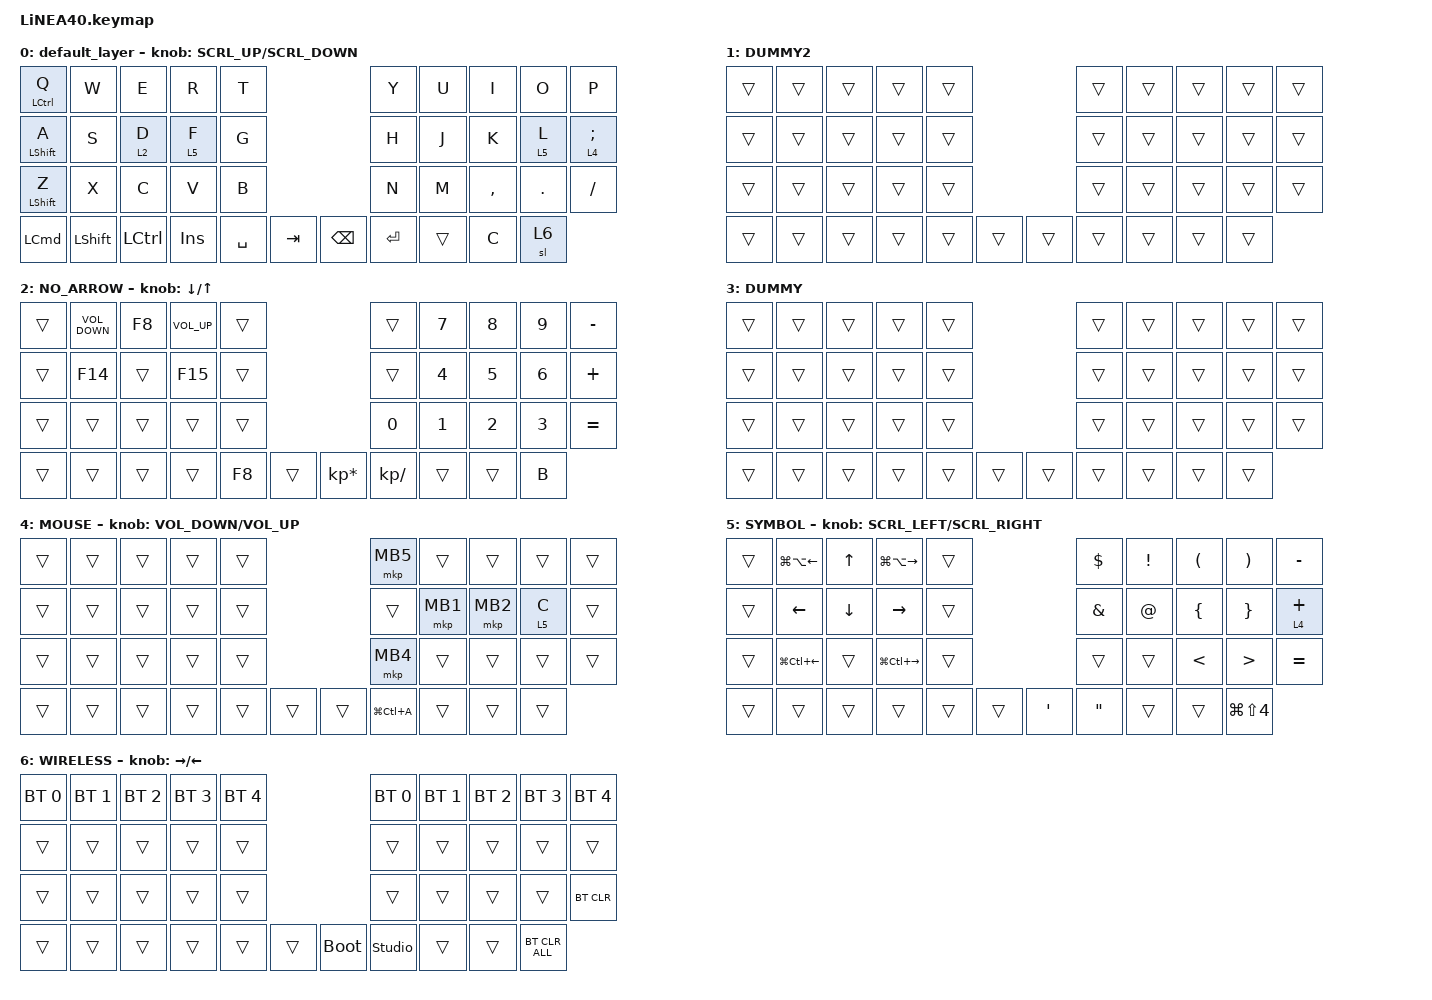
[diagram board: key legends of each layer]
#define ZMK_POINTING_DEFAULT_SCRL_VAL 150

#include <dt-bindings/zmk/input_transform.h>
#include <input/processors.dtsi>
#include <zephyr/dt-bindings/input/input-event-codes.h>
#include <behaviors.dtsi>
#include <dt-bindings/zmk/bt.h>
#include <dt-bindings/zmk/keys.h>
#include <dt-bindings/zmk/pointing.h>

#define MOUSE 1
#define MARK 2
#define CURSOR 3
#define FUNCTION 4
#define SCROLL 5
#define WIRELESS 6

//mouse cursol

&mmv {
    delay-ms = <20>;
    trigger-period-ms = <5>;
    time-to-max-speed-ms = <100>;
    acceleration-exponent = <2>;
};

//mouse scroll

&msc {
    delay-ms = <3>;
    trigger-period-ms = <3>;
    time-to-max-speed-ms = <100>;
    acceleration-exponent = <0>;
};

/ {
    input_processors {
        zip_wheel_scaler: zip_wheel_scaler {
            compatible = "zmk,input-processor-scaler";
            #input-processor-cells = <2>;
            type = <INPUT_EV_REL>;
            codes = <INPUT_REL_WHEEL>;
            track-remainders;
        };
    };
};

&msc_input_listener {
    speed_up {
        layers = <FUNCTION>;
        input-processors = <&zip_wheel_scaler 3 1>;
    };
};

&trackball_listener {
    scroller {
        layers = <SCROLL>;
        input-processors =
            <&zip_xy_transform INPUT_TRANSFORM_Y_INVERT>,
            <&zip_xy_to_scroll_mapper>,
            <&zip_wheel_scaler 1 3>;
    };
};

/ {
    combos {
        compatible = "zmk,combos";

        pass1 {
            bindings = <&pass1>;
            key-positions = <16 6>;
        };

        pass2 {
            bindings = <&pass2>;
            key-positions = <7 17>;
        };

        esc {
            bindings = <&kp ESC>;
            key-positions = <35 34>;
        };

        minas {
            bindings = <&kp MINUS>;
            key-positions = <13 9>;
        };
    };

    behaviors {
        re_kp: sensor_rotate_kp {
            compatible = "zmk,behavior-sensor-rotate-var";
            #sensor-binding-cells = <2>;
            bindings = <&kp>, <&kp>;
        };

        mouse_scrl: mouse_wheel_scrl {
            compatible = "zmk,behavior-sensor-rotate-var";
            #sensor-binding-cells = <2>;
            bindings = <&msc>, <&msc>;

            tap-ms = <20>;
        };
    };

    macros {
        pass1: new_macro {
            compatible = "zmk,behavior-macro";
            #binding-cells = <0>;
            bindings = <&kp NUMBER_1 &kp NUMBER_1 &kp NUMBER_2 &kp NUMBER_8 &kp NUMBER_1 &kp NUMBER_2 &kp NUMBER_1 &kp NUMBER_2 &kp ENTER &kp LG(LS(UP_ARROW)) &kp DELETE>;
            label = "NEW_MACRO";
        };

        pass2: pass2 {
            compatible = "zmk,behavior-macro";
            #binding-cells = <0>;
            bindings = <&kp LS(T) &kp A &kp S &kp A &kp K &kp I &kp NUMBER_0 &kp NUMBER_2 &kp NUMBER_1 &kp NUMBER_4 &kp NUMBER_1 &kp NUMBER_2 &kp ENTER &kp LS(LG(UP_ARROW)) &kp DELETE>;
            label = "PASS2";
        };
    };

    keymap {
        compatible = "zmk,keymap";

        default_layer {
            bindings = <
&mt LEFT_CONTROL Q  &kp W           &kp E             &kp R    &kp T                                &kp Y      &kp U  &kp I      &kp O    &kp P
&mt LEFT_SHIFT A    &kp S           &lt 2 D           &lt 5 F  &kp G                                &kp H      &kp J  &kp K      &lt 5 L  &lt 4 SEMICOLON
&mt LEFT_SHIFT Z    &kp X           &kp C             &kp V    &kp B                                &kp N      &kp M  &kp COMMA  &kp DOT  &kp SLASH
&kp LEFT_COMMAND    &kp LEFT_SHIFT  &kp LEFT_CONTROL  &kp INS  &kp SPACE  &kp TAB    &kp BACKSPACE  &kp ENTER         &trans     &kp C    &sl 6
            >;

            sensor-bindings = <&mouse_scrl SCRL_UP SCRL_DOWN>;
        };

        DUMMY2 {
            bindings = <
&trans  &trans  &trans  &trans  &trans                    &trans  &trans  &trans  &trans  &trans
&trans  &trans  &trans  &trans  &trans                    &trans  &trans  &trans  &trans  &trans
&trans  &trans  &trans  &trans  &trans                    &trans  &trans  &trans  &trans  &trans
&trans  &trans  &trans  &trans  &trans  &trans    &trans  &trans          &trans  &trans  &trans
            >;
        };

        NO_ARROW {
            bindings = <
&trans  &kp C_VOLUME_DOWN  &kp F8  &kp C_VOLUME_UP  &trans                             &trans        &kp NUMBER_7  &kp NUMBER_8  &kp NUMBER_9  &kp MINUS
&trans  &kp F14            &trans  &kp F15          &trans                             &trans        &kp NUMBER_4  &kp NUMBER_5  &kp NUMBER_6  &kp PLUS
&trans  &trans             &trans  &trans           &trans                             &kp NUMBER_0  &kp NUMBER_1  &kp NUMBER_2  &kp NUMBER_3  &kp EQUAL
&trans  &trans             &trans  &trans           &kp F8  &trans    &kp KP_ASTERISK  &kp KP_SLASH                &trans        &trans        &kp B
            >;

            sensor-bindings = <&inc_dec_kp DOWN_ARROW UP_ARROW>;
        };

        DUMMY {
            bindings = <
&trans  &trans  &trans  &trans  &trans                    &trans  &trans  &trans  &trans  &trans
&trans  &trans  &trans  &trans  &trans                    &trans  &trans  &trans  &trans  &trans
&trans  &trans  &trans  &trans  &trans                    &trans  &trans  &trans  &trans  &trans
&trans  &trans  &trans  &trans  &trans  &trans    &trans  &trans          &trans  &trans  &trans
            >;
        };

        MOUSE {
            bindings = <
&trans  &trans  &trans  &trans  &trans                    &mkp MB5       &trans    &trans    &trans   &trans
&trans  &trans  &trans  &trans  &trans                    &trans         &mkp MB1  &mkp MB2  &lt 5 C  &trans
&trans  &trans  &trans  &trans  &trans                    &mkp MB4       &trans    &trans    &trans   &trans
&trans  &trans  &trans  &trans  &trans  &trans    &trans  &kp LG(LC(A))            &trans    &trans   &trans
            >;

            sensor-bindings = <&re_kp C_VOLUME_DOWN C_VOLUME_UP>;
        };

        SYMBOL {
            bindings = <
&trans  &kp LG(LA(LEFT_ARROW))  &kp UP    &kp LG(LA(RIGHT))  &trans                              &kp DOLLAR         &kp EXCLAMATION  &kp LEFT_PARENTHESIS  &kp RIGHT_PARENTHESIS  &kp MINUS
&trans  &kp LEFT                &kp DOWN  &kp RIGHT          &trans                              &kp AMPERSAND      &kp AT_SIGN      &kp LEFT_BRACE        &kp RIGHT_BRACE        &lt 4 PLUS
&trans  &kp LG(LC(LEFT))        &trans    &kp LG(LC(RIGHT))  &trans                              &trans             &trans           &kp LESS_THAN         &kp GREATER_THAN       &kp EQUAL
&trans  &trans                  &trans    &trans             &trans  &trans    &kp SINGLE_QUOTE  &kp DOUBLE_QUOTES                   &trans                &trans                 &kp LG(LS(NUMBER_4))
            >;

            sensor-bindings = <&mouse_scrl SCRL_LEFT SCRL_RIGHT>;
        };

        WIRELESS {
            bindings = <
&bt BT_SEL 0  &bt BT_SEL 1  &bt BT_SEL 2  &bt BT_SEL 3  &bt BT_SEL 4                         &bt BT_SEL 0    &bt BT_SEL 1  &bt BT_SEL 2  &bt BT_SEL 3  &bt BT_SEL 4
&trans        &trans        &trans        &trans        &trans                               &trans          &trans        &trans        &trans        &trans
&trans        &trans        &trans        &trans        &trans                               &trans          &trans        &trans        &trans        &bt BT_CLR
&trans        &trans        &trans        &trans        &trans        &trans    &bootloader  &studio_unlock                &trans        &trans        &bt BT_CLR_ALL
            >;

            sensor-bindings = <&inc_dec_kp RIGHT_ARROW LEFT_ARROW>;
        };
    };
};
